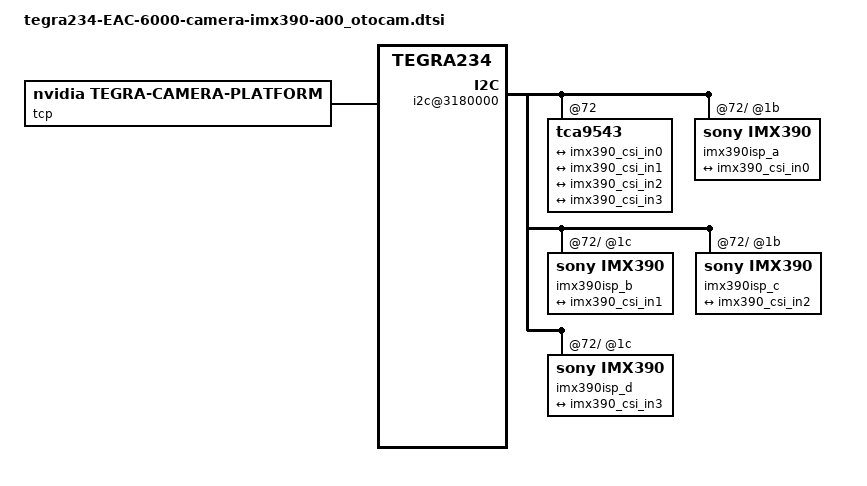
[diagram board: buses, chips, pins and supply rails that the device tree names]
/*
 * Copyright (c) 2018-2021, NVIDIA CORPORATION.  All rights reserved.
 *
 * This program is free software; you can redistribute it and/or modify it
 * under the terms and conditions of the GNU General Public License,
 * version 2, as published by the Free Software Foundation.
 *
 * This program is distributed in the hope it will be useful, but WITHOUT
 * ANY WARRANTY; without even the implied warranty of MERCHANTABILITY or
 * FITNESS FOR A PARTICULAR PURPOSE.  See the GNU General Public License for
 * more details.
 *
 * You should have received a copy of the GNU General Public License
 * along with this program.  If not, see <http://www.gnu.org/licenses/>.
 */
//#include <./tegra234-otocam-camera-all-mode.dtsi>
/ {
	tegra-capture-vi {
		num-channels = <4>;
		ports {
			#address-cells = <1>;
			#size-cells = <0>;
			port@0 {
				reg = <0>;
				imx390_vi_in0: endpoint {
					vc-id = <0>;
					port-index = <0>;
					bus-width = <4>;
					remote-endpoint = <&imx390_csi_out0>;
				};
			};
			port@1 {
				reg = <1>;
				imx390_vi_in1: endpoint {
					vc-id = <1>;
					port-index = <0>;
					bus-width = <4>;
					remote-endpoint = <&imx390_csi_out1>;
				};
			};
			port@2 {
					reg = <2>;
					imx390_vi_in2: endpoint {
						vc-id = <0>;
						port-index = <2>;
						bus-width = <4>;
						remote-endpoint = <&imx390_csi_out2>;
					};
				};
				port@3 {
					reg = <3>;
					imx390_vi_in3: endpoint {
						vc-id = <1>;
						port-index = <2>;
						bus-width = <4>;
						remote-endpoint = <&imx390_csi_out3>;
					};
				};
		};
	};

	host1x@13e00000 {
		nvcsi@15a00000 {
			num-channels = <4>;
			#address-cells = <1>;
			#size-cells = <0>;
			channel@0 {
				reg = <0>;
				ports {
					#address-cells = <1>;
					#size-cells = <0>;
					port@0 {
						reg = <0>;
						imx390_csi_in0: endpoint@0 {
							port-index = <0>;
							bus-width = <4>;
							remote-endpoint = <&imx390_out0>;
						};
					};
					port@1 {
						reg = <1>;
						imx390_csi_out0: endpoint@1 {
							remote-endpoint = <&imx390_vi_in0>;
						};
					};
				};
			};
			channel@1 {
				reg = <1>;
				ports {
					#address-cells = <1>;
					#size-cells = <0>;
					port@0 {
						reg = <0>;
						imx390_csi_in1: endpoint@2 {
							port-index = <0>;
							bus-width = <4>;
							remote-endpoint = <&imx390_out1>;
						};
					};
					port@1 {
						reg = <1>;
						imx390_csi_out1: endpoint@3 {
							remote-endpoint = <&imx390_vi_in1>;
						};
					};
				};
			};
			channel@2 {
				reg = <2>;
				ports {
					#address-cells = <1>;
					#size-cells = <0>;
					port@0 {
						reg = <0>;
						imx390_csi_in2: endpoint@4 {
							port-index = <2>;
							bus-width = <4>;
							remote-endpoint = <&imx390_out2>;
						};
					};
					port@1 {
						reg = <1>;
						imx390_csi_out2: endpoint@5 {
							remote-endpoint = <&imx390_vi_in2>;
						};
					};
				};
			};
			channel@3 {
				reg = <3>;
				ports {
					#address-cells = <1>;
					#size-cells = <0>;
					port@0 {
						reg = <0>;
						imx390_csi_in3: endpoint@6 {
							port-index = <2>;
							bus-width = <4>;
							remote-endpoint = <&imx390_out3>;
						};
					};
					port@1 {
						reg = <1>;
						imx390_csi_out3: endpoint@7 {
							remote-endpoint = <&imx390_vi_in3>;
						};
					};
				};
			};
		};
	};

i2c@3180000 {
		tca9543@72 {
		i2c@0 {
		imx390isp_a@1b {
				compatible = "sony,imx390","nvidia,imx390isp";

				def-addr = <0x6d>;	

				/* Physical dimensions of sensor */
				physical_w = "15.0";
				physical_h = "12.5";

				sensor_model ="imx390isp";

				/* Defines number of frames to be dropped by driver internally after applying */
				/* sensor crop settings. Some sensors send corrupt frames after applying */
				/* crop co-ordinates */
				post_crop_frame_drop = "0";

				/* Convert Gain to unit of dB (decibel) befor passing to kernel driver */
				//use_decibel_gain = "true";	// FIX:?

				/* enable CID_SENSOR_MODE_ID for sensor modes selection */
				use_sensor_mode_id = "true";
				mode0 {
					mclk_khz = "24000";
					tegra_sinterface = "serial_b";
					vc_id = "0";
					num_lanes = "4";
					discontinuous_clk = "no";
					dpcm_enable = "false";
					cil_settletime = "0";
					mode_type = "yuv";
					pixel_phase = "uyvy";
					csi_pixel_bit_depth = "16";
					dynamic_pixel_bit_depth = "16";

					active_w = "1920";
					active_h = "1080";
					readout_orientation = "0";
					line_length = "2200";
					inherent_gain = "1";
					pix_clk_hz = "374000000";	
					//pix_clk_hz = "74250000";//test
					lane_polarity = "6";


					gain_factor = "10";
					min_gain_val = "0"; /* dB */
					max_gain_val = "300"; /* dB */
					step_gain_val = "3"; /* 0.3 */
					default_gain = "0";
					min_hdr_ratio = "1";
					max_hdr_ratio = "1";
					framerate_factor = "1000000";
					min_framerate = "30000000";
					max_framerate = "30000000";
					step_framerate = "1";
					default_framerate = "30000000";
					exposure_factor = "1000000";
					min_exp_time = "59"; /*us, 2 lines*/
					max_exp_time = "33333";
					step_exp_time = "1";
					default_exp_time = "33333";/* us */
					embedded_metadata_height = "0";
					
				};
				ports {
					#address-cells = <1>;
					#size-cells = <0>;
					port@0 {
						reg = <0>;
						imx390_out0: endpoint {
							vc-id = <0>;
							port-index = <0>;
							bus-width = <4>;
							remote-endpoint = <&imx390_csi_in0>;
						};
					};
				};
				gmsl-link {
					src-csi-port = "b";
					dst-csi-port = "a";
					serdes-csi-link = "a";
					csi-mode = "1x4";
					st-vc = <0>;
					vc-id = <0>;
					num-lanes = <4>;
					streams = "ued-u1","yuv8";	// FIX:*
					//streams = "ued-u1", "raw12";	// FIX:-
				};
			};


			imx390isp_b@1c{
				compatible = "sony,imx390","nvidia,imx390isp";

				def-addr = <0x6d>;	// FIX:+
				//reg = <0x1b>;	// FIX:-

				/* Physical dimensions of sensor */
				physical_w = "15.0";
				physical_h = "12.5";

				sensor_model ="imx390isp";

				/* Defines number of frames to be dropped by driver internally after applying */
				/* sensor crop settings. Some sensors send corrupt frames after applying */
				/* crop co-ordinates */
				post_crop_frame_drop = "0";

				/* Convert Gain to unit of dB (decibel) befor passing to kernel driver */
				//use_decibel_gain = "true";	// FIX:?

				/* enable CID_SENSOR_MODE_ID for sensor modes selection */
				use_sensor_mode_id = "true";
				mode0 {
					
					tegra_sinterface = "serial_b";
					vc_id = "1";
					mclk_khz = "24000";
					num_lanes = "4";
					discontinuous_clk = "no";
					dpcm_enable = "false";
					cil_settletime = "0";
					mode_type = "yuv";
					pixel_phase = "uyvy";
					csi_pixel_bit_depth = "16";
					dynamic_pixel_bit_depth = "16";
					lane_polarity = "0";
					
					active_w = "1920";
					active_h = "1080";
					readout_orientation = "0";
					line_length = "2200";
					inherent_gain = "1";
					pix_clk_hz = "374000000";	// FIX:* 74250000

					gain_factor = "10";
					min_gain_val = "0"; /* dB */
					max_gain_val = "300"; /* dB */
					step_gain_val = "3"; /* 0.3 */
					default_gain = "0";
					min_hdr_ratio = "1";
					max_hdr_ratio = "1";
					framerate_factor = "1000000";
					min_framerate = "30000000";
					max_framerate = "30000000";
					step_framerate = "1";
					default_framerate = "30000000";
					exposure_factor = "1000000";
					min_exp_time = "59"; /*us, 2 lines*/
					max_exp_time = "33333";
					step_exp_time = "1";
					default_exp_time = "33333";/* us */
					embedded_metadata_height = "0";
				};
				ports {
					#address-cells = <1>;
					#size-cells = <0>;
					port@0 {
						reg = <0>;
						imx390_out1: endpoint {
							vc-id = <1>;
							port-index = <0>;
							bus-width = <4>;
							remote-endpoint = <&imx390_csi_in1>;
						};
					};
				};
				gmsl-link {
					src-csi-port = "b";
					dst-csi-port = "a";
					serdes-csi-link = "b";
					csi-mode = "1x4";
					st-vc = <0>;
					vc-id = <1>;
					num-lanes = <4>;
					streams = "ued-u1","yuv8";	// FIX:*
				};
			};
			
			};

		     i2c@1 {
			imx390isp_c@1b {
				compatible = "sony,imx390","nvidia,imx390isp";

				def-addr = <0x6d>;	// FIX:+
				//reg = <0x1b>;	// FIX:-

				/* Physical dimensions of sensor */
				physical_w = "15.0";
				physical_h = "12.5";

				sensor_model ="imx390isp";

				/* Defines number of frames to be dropped by driver internally after applying */
				/* sensor crop settings. Some sensors send corrupt frames after applying */
				/* crop co-ordinates */
				post_crop_frame_drop = "0";

				/* Convert Gain to unit of dB (decibel) befor passing to kernel driver */
				//use_decibel_gain = "true";	// FIX:?

				/* enable CID_SENSOR_MODE_ID for sensor modes selection */
				use_sensor_mode_id = "true";

				mode0 {
					tegra_sinterface = "serial_c";
					vc_id = "0";
					mclk_khz = "24000";
					num_lanes = "4";
					discontinuous_clk = "no";
					dpcm_enable = "false";
					cil_settletime = "0";
					mode_type = "yuv";
					pixel_phase = "uyvy";
					csi_pixel_bit_depth = "16";
					dynamic_pixel_bit_depth = "16";
					
					
					active_w = "1920";
					active_h = "1080";
					readout_orientation = "0";
					line_length = "2200";
					inherent_gain = "1";
					pix_clk_hz = "374000000";	// FIX:* 74250000
					//serdes_pix_clk_hz = "200000000";	// FIX:-

					gain_factor = "10";
					min_gain_val = "0"; /* dB */
					max_gain_val = "300"; /* dB */
					step_gain_val = "3"; /* 0.3 */
					default_gain = "0";
					min_hdr_ratio = "1";
					max_hdr_ratio = "1";
					framerate_factor = "1000000";
					min_framerate = "30000000";
					max_framerate = "30000000";
					step_framerate = "1";
					default_framerate = "30000000";
					exposure_factor = "1000000";
					min_exp_time = "59"; /*us, 2 lines*/
					max_exp_time = "33333";
					step_exp_time = "1";
					default_exp_time = "33333";/* us */
					embedded_metadata_height = "0";
				};
				ports {
					#address-cells = <1>;
					#size-cells = <0>;
					port@0 {
						reg = <0>;
						imx390_out2: endpoint {
							vc-id = <0>;
							port-index = <2>;
							bus-width = <4>;
							remote-endpoint = <&imx390_csi_in2>;
						};
					};
				};
				gmsl-link {
					src-csi-port = "b";
					dst-csi-port = "a";
					serdes-csi-link = "a";
					csi-mode = "1x4";
					st-vc = <0>;
					vc-id = <0>;
					num-lanes = <4>;
					streams = "yuv8","ued-u1";
				};
			};

			imx390isp_d@1c {
				compatible = "sony,imx390","nvidia,imx390isp";

				def-addr = <0x6d>;	// FIX:+
				//reg = <0x1b>;	// FIX:-

				/* Physical dimensions of sensor */
				physical_w = "15.0";
				physical_h = "12.5";

				sensor_model ="imx390isp";

				/* Defines number of frames to be dropped by driver internally after applying */
				/* sensor crop settings. Some sensors send corrupt frames after applying */
				/* crop co-ordinates */
				post_crop_frame_drop = "0";

				/* Convert Gain to unit of dB (decibel) befor passing to kernel driver */
				//use_decibel_gain = "true";	// FIX:?

				/* enable CID_SENSOR_MODE_ID for sensor modes selection */
				use_sensor_mode_id = "true";
				mode0 {
					tegra_sinterface = "serial_c";
					vc_id = "1";
					mclk_khz = "24000";
					num_lanes = "4";
					discontinuous_clk = "no";
					dpcm_enable = "false";
					cil_settletime = "0";
					mode_type = "yuv";
					pixel_phase = "uyvy";
					csi_pixel_bit_depth = "16";
					dynamic_pixel_bit_depth = "16";
					
					
					active_w = "1920";
					active_h = "1080";
					readout_orientation = "0";
					line_length = "2200";
					inherent_gain = "1";
					pix_clk_hz = "374000000";	// FIX:* 74250000
					//serdes_pix_clk_hz = "200000000";	// FIX:-

					gain_factor = "10";
					min_gain_val = "0"; /* dB */
					max_gain_val = "300"; /* dB */
					step_gain_val = "3"; /* 0.3 */
					default_gain = "0";
					min_hdr_ratio = "1";
					max_hdr_ratio = "1";
					framerate_factor = "1000000";
					min_framerate = "30000000";
					max_framerate = "30000000";
					step_framerate = "1";
					default_framerate = "30000000";
					exposure_factor = "1000000";
					min_exp_time = "59"; /*us, 2 lines*/
					max_exp_time = "33333";
					step_exp_time = "1";
					default_exp_time = "33333";/* us */
					embedded_metadata_height = "0";
				};
				ports {
					#address-cells = <1>;
					#size-cells = <0>;
					port@0 {
						reg = <0>;
						imx390_out3: endpoint {
							vc-id = <1>;
							port-index = <2>;
							bus-width = <4>;
							remote-endpoint = <&imx390_csi_in3>;
						};
					};
				};
				gmsl-link {
					src-csi-port = "b";
					dst-csi-port = "a";
					serdes-csi-link = "b";
					csi-mode = "1x4";
					st-vc = <0>;
					vc-id = <1>;
					num-lanes = <4>;
					streams = "yuv8","ued-u1";
				};
			
			};
			};
			};
};


};

/ {

	tcp: tegra-camera-platform {
		compatible = "nvidia, tegra-camera-platform";
		/**
		* Physical settings to calculate max ISO BW
		*
		* num_csi_lanes = <>;
		* Total number of CSI lanes when all cameras are active
		*
		* max_lane_speed = <>;
		* Max lane speed in Kbit/s
		*
		* min_bits_per_pixel = <>;
		* Min bits per pixel
		*
		* vi_peak_byte_per_pixel = <>;
		* Max byte per pixel for the VI ISO case
		*
		* vi_bw_margin_pct = <>;
		* Vi bandwidth margin in percentage
		*
		* max_pixel_rate = <>;
		* Max pixel rate in Kpixel/s for the ISP ISO case
		*
		* isp_peak_byte_per_pixel = <>;
		* Max byte per pixel for the ISP ISO case
		*
		* isp_bw_margin_pct = <>;
		* Isp bandwidth margin in percentage
		*/
		num_csi_lanes = <8>;
//#ifdef CAM_SERDES_GMSL)
		max_lane_speed = <4000000>;
//#else	// CAM_SERDES_FPDL
//		max_lane_speed = <1500000>;	// FIX:?
//#endif
		min_bits_per_pixel = <10>;	// FIX:* 10
		vi_peak_byte_per_pixel = <2>;
		vi_bw_margin_pct = <25>;
		//max_pixel_rate = <800000>;	// FIX:? 160|200|300|750
		isp_peak_byte_per_pixel = <5>;
		isp_bw_margin_pct = <25>;

		/**
		 * The general guideline for naming badge_info contains 3 parts, and is as follows,
		 * The first part is the camera_board_id for the module; if the module is in a FFD
		 * platform, then use the platform name for this part.
		 * The second part contains the position of the module, ex. "rear" or "front".
		 * The third part contains the last 6 characters of a part number which is found
		 * in the module's specsheet from the vender.
		 */
		modules {
			module0 {
				badge = "imx390_rear";
				position = "rear";
				orientation = "1";
				drivernode0 {
					/* Declare PCL support driver (classically known as guid)  */
					pcl_id = "v4l2_sensor";
					/* Driver v4l2 device name */
					devname = "imx390isp 30-001b";
					/* Declare the device-tree hierarchy to driver instance */
					proc-device-tree = "/proc/device-tree/i2c@3180000/tca9543@72/i2c@0/imx390isp_a@1b";
				};
			};
			module1 {
				badge = "imx390_front";
				position = "front";
				orientation = "1";
				drivernode0 {
					/* Declare PCL support driver (classically known as guid)  */
					pcl_id = "v4l2_sensor";
					/* Driver v4l2 device name */
					devname = "imx390isp 30-001c";
					/* Declare the device-tree hierarchy to driver instance */
					proc-device-tree = "/proc/device-tree/i2c@3180000/tca9543@72/i2c@0/imx390isp_b@1c";
				};
			};
			module2 {
				badge = "imx390_left";
				position = "topright";	// topleft
				orientation = "1";
				drivernode0 {
					/* Declare PCL support driver (classically known as guid)  */
					pcl_id = "v4l2_sensor";
					/* Driver v4l2 device name */
					devname = "imx390isp 31-001b";
					/* Declare the device-tree hierarchy to driver instance */
					proc-device-tree = "/proc/device-tree/i2c@3180000/tca9543@72/i2c@1/imx390isp_c@1b";
				};
			};
			module3 {
				badge = "imx390_right";
				position = "bottomright";	// topright
				orientation = "1";
				drivernode0 {
					/* Declare PCL support driver (classically known as guid)  */
					pcl_id = "v4l2_sensor";
					/* Driver v4l2 device name */
					devname = "imx390isp 31-001c";
					/* Declare the device-tree hierarchy to driver instance */
					proc-device-tree = "/proc/device-tree/i2c@3180000/tca9543@72/i2c@1/imx390isp_d@1c";
				};
			};
		};
	};
};
